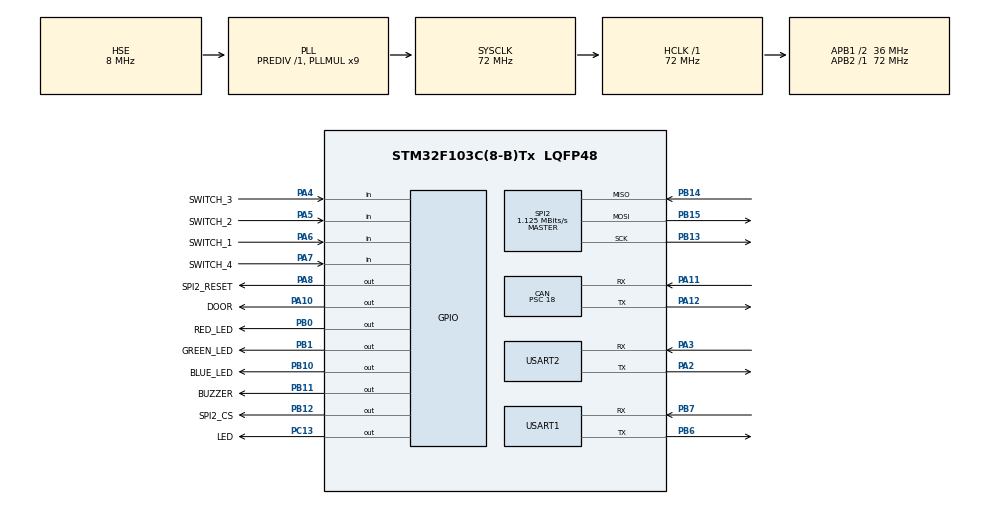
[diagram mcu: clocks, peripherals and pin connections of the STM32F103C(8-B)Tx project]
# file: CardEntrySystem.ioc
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CAN.BS1=CAN_BS1_2TQ
CAN.CalculateBaudRate=500000
CAN.CalculateTimeBit=2000
CAN.CalculateTimeQuantum=500.0
CAN.Mode=CAN_MODE_NORMAL
CAN.Prescaler=18
Mcu.Family=STM32F1
Mcu.Name=STM32F103C(8-B)Tx
Mcu.Package=LQFP48
NVIC.CAN1_RX1_IRQn=true\:0\:0\:false\:false\:true\:true\:true
NVIC.PriorityGroup=NVIC_PRIORITYGROUP_4
NVIC.TIM3_IRQn=true\:1\:0\:true\:false\:true\:true\:true
NVIC.USART1_IRQn=true\:0\:0\:true\:false\:true\:true\:true
NVIC.USART2_IRQn=true\:0\:0\:true\:false\:true\:true\:true
PA10.GPIO_Label=DOOR
PA10.GPIO_PuPd=GPIO_PULLDOWN
PA10.Signal=GPIO_Output
PA11.Mode=CAN_Activate
PA11.Signal=CAN_RX
PA12.Mode=CAN_Activate
PA12.Signal=CAN_TX
PA13.Mode=Serial_Wire
PA13.Signal=SYS_JTMS-SWDIO
PA14.Mode=Serial_Wire
PA14.Signal=SYS_JTCK-SWCLK
PA2.Mode=Asynchronous
PA2.Signal=USART2_TX
PA3.Mode=Asynchronous
PA3.Signal=USART2_RX
PA4.GPIO_Label=SWITCH_3
PA4.GPIO_PuPd=GPIO_PULLUP
PA4.Signal=GPIO_Input
PA5.GPIO_Label=SWITCH_2
PA5.GPIO_PuPd=GPIO_PULLUP
PA5.Signal=GPIO_Input
PA6.GPIO_Label=SWITCH_1
PA6.GPIO_PuPd=GPIO_PULLUP
PA6.Signal=GPIO_Input
PA7.GPIO_Label=SWITCH_4
PA7.GPIO_PuPd=GPIO_PULLUP
PA7.Signal=GPIO_Input
PA8.GPIO_Label=SPI2_RESET
PA8.Signal=GPIO_Output
PB0.GPIO_Label=RED_LED
PB0.Signal=GPIO_Output
PB1.GPIO_Label=GREEN_LED
PB1.Signal=GPIO_Output
PB10.GPIO_Label=BLUE_LED
PB10.Signal=GPIO_Output
PB11.GPIO_Label=BUZZER
PB11.GPIO_PuPd=GPIO_PULLUP
PB11.PinState=GPIO_PIN_SET
PB11.Signal=GPIO_Output
PB12.GPIO_Label=SPI2_CS
PB12.Signal=GPIO_Output
PB13.Mode=Full_Duplex_Master
PB13.Signal=SPI2_SCK
PB14.Mode=Full_Duplex_Master
PB14.Signal=SPI2_MISO
PB15.Mode=Full_Duplex_Master
PB15.Signal=SPI2_MOSI
PB6.Mode=Asynchronous
PB6.Signal=USART1_TX
PB7.Mode=Asynchronous
PB7.Signal=USART1_RX
PC13-TAMPER-RTC.GPIO_Label=LED
PC13-TAMPER-RTC.GPIO_PuPd=GPIO_PULLUP
PC13-TAMPER-RTC.Signal=GPIO_Output
PD0-OSC_IN.Mode=HSE-External-Oscillator
PD0-OSC_IN.Signal=RCC_OSC_IN
PD1-OSC_OUT.Mode=HSE-External-Oscillator
PD1-OSC_OUT.Signal=RCC_OSC_OUT
ProjectManager.HeapSize=0x200
ProjectManager.StackSize=0x400
ProjectManager.TargetToolchain=STM32CubeIDE
RCC.AHBFreq_Value=72000000
RCC.APB1CLKDivider=RCC_HCLK_DIV2
RCC.APB1Freq_Value=36000000
RCC.APB1TimFreq_Value=72000000
RCC.APB2Freq_Value=72000000
RCC.APB2TimFreq_Value=72000000
RCC.HCLKFreq_Value=72000000
RCC.PLLMUL=RCC_PLL_MUL9
RCC.PLLSourceVirtual=RCC_PLLSOURCE_HSE
RCC.SYSCLKFreq_VALUE=72000000
RCC.SYSCLKSource=RCC_SYSCLKSOURCE_PLLCLK
RCC.USBFreq_Value=72000000
SPI2.BaudRatePrescaler=SPI_BAUDRATEPRESCALER_32
SPI2.CalculateBaudRate=1.125 MBits/s
SPI2.Direction=SPI_DIRECTION_2LINES
SPI2.Mode=SPI_MODE_MASTER
SPI2.VirtualType=VM_MASTER
TIM3.ClockDivision=TIM_CLOCKDIVISION_DIV1
TIM3.Period=7200-1
TIM3.Prescaler=10-1
USART1.VirtualMode=VM_ASYNC
USART2.VirtualMode=VM_ASYNC
VP_TIM3_VS_ClockSourceINT.Mode=Internal
board=custom

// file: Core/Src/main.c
/* USER CODE BEGIN Header */
/**
 ******************************************************************************
 * @file           : main.c
 * @brief          : Main program body
 ******************************************************************************
 * @attention
 *
 * <h2><center>&copy; Copyright (c) 2021 STMicroelectronics.
 * All rights reserved.</center></h2>
 *
 * This software component is licensed by ST under BSD 3-Clause license,
 * the "License"; You may not use this file except in compliance with the
 * License. You may obtain a copy of the License at:
 *                        opensource.org/licenses/BSD-3-Clause
 *
 ******************************************************************************
 */
/* USER CODE END Header */
#include "main.h"

/* USER CODE BEGIN Includes */
#include "string.h"
#include "RC-522.h"
#include "buzzerControl.h"
#include "ledControl.h"
#include "flash.h"
/* USER CODE END Includes */

CAN_HandleTypeDef hcan;

SPI_HandleTypeDef hspi2;

TIM_HandleTypeDef htim3;

UART_HandleTypeDef huart1;
UART_HandleTypeDef huart2;

/* USER CODE BEGIN PV */
uint8_t rxArrivedFlag;
uint32_t rxArrivedTime;
uint8_t wrongAccess;
uint8_t receivedWrongAccess;
/* USER CODE END PV */

void SystemClock_Config(void);
static void MX_GPIO_Init(void);
static void MX_CAN_Init(void);
static void MX_SPI2_Init(void);
static void MX_TIM3_Init(void);
static void MX_USART1_UART_Init(void);
static void MX_USART2_UART_Init(void);

/* USER CODE BEGIN 0 */

typedef struct
{
	uint32_t TxSentBytes;
	uint32_t TxPackageSize;
	uint32_t RxReceivedBytes;
	uint32_t RxPackageSize;
	uint8_t RxData;
	uint8_t RxReceivedId;
	uint8_t TxBuffer[UART_BUF_SIZE];
	uint8_t RxBuffer[UART_BUF_SIZE];
	uint8_t HandShake;
} UartCom_t;

typedef struct
{
	uint32_t StartTime;
	uint32_t ActiveTime;
	uint8_t Open;
}DoorSwitch_t;

DoorSwitch_t Door;

UartCom_t Uart1;
UartCom_t Uart2;

Card_t Card[MAX_ID_NUMBER];
Card_t CardFlash[MAX_ID_NUMBER] __attribute__((section (".dataSection")));

Card_t ReceivedCard;
DeviceStatus_t TypeOfProcess = DS_NONE;

DeviceStatus_t DeviceStatus;
DeviceStatus_t OldDeviceStatus;
DeviceZone_t DeviceZone;

uint8_t status;
uint8_t str[MAX_LEN]; // Max_LEN = 16
uint8_t serNum[5];

CAN_TxHeaderTypeDef TxHeader;
CAN_RxHeaderTypeDef RxHeader;

uint32_t TxMailbox;

uint8_t TxData[8];
uint8_t RxData[8];

Card_t tempCard =
{ 0 };

uint8_t ProcessCardID(DeviceStatus_t status, uint8_t *receivedID, uint8_t cardIndex);
uint8_t CheckUart(uint32_t PackageSize, const uint8_t *RxBuffer);
uint8_t ReaderControl(Card_t *card, uint8_t *newSerialNumber);
void DoorControl(uint32_t activeTime);
/**
 * @brief  Period elapsed callback in non-blocking mode
 * @param  htim TIM handle
 * @retval None
 */
void HAL_TIM_PeriodElapsedCallback(TIM_HandleTypeDef *htim)
{
	if (htim == &htim3)
	{
		BuzzerUpdate();
		LedUpdate();

		if (HAL_GetTick() - rxArrivedTime > RX_ARRIVED_TIMEOUT)
		{
			rxArrivedFlag = 0;
		}

		if(Door.ActiveTime)
		{

		}

		if (Door.ActiveTime)
		{
			Door.ActiveTime--;
			if (Door.Open == 0)
			{
				Door.Open = 1;
				HAL_GPIO_WritePin(DOOR_GPIO_Port, DOOR_Pin, GPIO_PIN_SET);
			}
		}
		else
		{
			Door.Open = 0;
			HAL_GPIO_WritePin(DOOR_GPIO_Port, DOOR_Pin, GPIO_PIN_RESET);
		}

		if (TypeOfProcess != DS_NONE)
		{
			uint8_t cardIndex = ReaderControl(Card, ReceivedCard.ID);

			switch (TypeOfProcess) {

			case DS_RUNNING:

				if (cardIndex != CARD_NOT_SAVED)
				{
					ProcessCardID(DS_RUNNING, ReceivedCard.ID, cardIndex);
				}

				TypeOfProcess = DS_NONE;
				break;

			case DS_SAVE_VIP_CARD:

				if (cardIndex == CARD_NOT_SAVED)
				{
				ProcessCardID(DS_SAVE_VIP_CARD, ReceivedCard.ID, cardIndex);
				}

				TypeOfProcess = DS_NONE;
				break;

			case DS_SAVE_NORMAL_CARD:

				if (cardIndex == CARD_NOT_SAVED)
				{
					ProcessCardID(DS_SAVE_NORMAL_CARD, ReceivedCard.ID, cardIndex);
				}

				TypeOfProcess = DS_NONE;
				break;

			case DS_REMOVE_CARD:

				if (cardIndex != CARD_NOT_SAVED)
				{
					ProcessCardID(DS_REMOVE_CARD, ReceivedCard.ID, cardIndex);
				}

				TypeOfProcess = DS_NONE;
				break;
			default:
				break;
			}
		}
	}
}

//uint32_t flag;
///**
// * @brief  Rx FIFO 0 message pending callback.
// * @param  hcan pointer to a CAN_HandleTypeDef structure that contains
// *         the configuration information for the specified CAN.
// * @retval None
// */
//void HAL_CAN_RxFifo1MsgPendingCallback(CAN_HandleTypeDef *hcan)
//{
//	HAL_CAN_GetRxMessage(hcan, CAN_RX_FIFO1, &RxHeader, RxData);
//	if (RxHeader.DLC == 2)
//	{
//		flag = 1;
//	}
//}

uint8_t WhichCardEmpty(Card_t *card)
{
	int i;

	for (i = 0; i < MAX_ID_NUMBER; i++)
	{
		if (Card[i].Position == P_NOT_SAVED_CARD)
		{
			return i;
		}
	}

	if (i < MAX_ID_NUMBER)
	{
		return CARD_NOT_SAVED;
	} else
	{
		return MAX_ID_NUMBER_OVERFLOWED;
	}
}

void DeviceStatusUpdate(void)
{

	uint8_t switch1, switch2, switch3, switch4, temp, deviceStatus, deviceZone;

	switch1 = HAL_GPIO_ReadPin(SWITCH_1_GPIO_Port, SWITCH_1_Pin);
	switch2 = HAL_GPIO_ReadPin(SWITCH_2_GPIO_Port, SWITCH_2_Pin);
	switch3 = HAL_GPIO_ReadPin(SWITCH_3_GPIO_Port, SWITCH_3_Pin);
	switch4 = HAL_GPIO_ReadPin(SWITCH_4_GPIO_Port, SWITCH_4_Pin);

	temp = (uint8_t) (switch4 << 3 | switch3 << 2 | switch2 << 1 | switch1);
	deviceStatus = (~temp) & 0x03;
	deviceZone = ((~temp) & 0x0C) >> 2;

	switch (deviceStatus) {
	case DS_RUNNING:
		DeviceStatus = DS_RUNNING;
		if (OldDeviceStatus != DeviceStatus)
		{
			LedResetActiveState();
			LedControl(OFF, C_ALL, 0, LM_INFINITY);
		}

		break;
	case DS_SAVE_VIP_CARD:
		DeviceStatus = DS_SAVE_VIP_CARD;
		if (OldDeviceStatus != DeviceStatus)
		{
			LedResetActiveState();
			LedControl(ON, C_BLUE, 0, LM_INFINITY);
		}

		break;
	case DS_SAVE_NORMAL_CARD:
		DeviceStatus = DS_SAVE_NORMAL_CARD;
		if (OldDeviceStatus != DeviceStatus)
		{
			LedResetActiveState();
			LedControl(ON, C_YELLOW, 0, LM_INFINITY);
		}
		break;
	case DS_REMOVE_CARD:
		DeviceStatus = DS_REMOVE_CARD;
		if (OldDeviceStatus != DeviceStatus)
		{
			LedResetActiveState();
			LedControl(ON, C_WHITE, 0, LM_INFINITY);
		}

		break;
	default:
		break;
	}

	OldDeviceStatus = DeviceStatus;

	switch (deviceZone) {
	case DZ_OUTSIDE:
		DeviceZone = DZ_OUTSIDE;
		break;
	case DZ_OUTSIDE_MID:
		DeviceZone = DZ_OUTSIDE_MID;
		break;
	case DZ_VIP_ROOM:
		DeviceZone = DZ_VIP_ROOM;
		break;
	case DZ_VIP_ROOM_MID:
		DeviceZone = DZ_VIP_ROOM_MID;
		break;
	default:
		break;
	}
}

//return 1 saved Card
uint8_t ReaderControl(Card_t *card, uint8_t *newSerialNumber)
{
	for (int i = 0; i < MAX_ID_NUMBER; i++)
	{
		if (!memcmp(card[i].ID, newSerialNumber, SER_NUM_BYTE_CNT))
		{
			return i;
		}
	}
	return CARD_NOT_SAVED;
}

/**
 * @brief  Rx Transfer completed callbacks.
 * @param  huart  Pointer to a UART_HandleTypeDef structure that contains
 *                the configuration information for the specified UART module.
 * @retval None
 */
void HAL_UART_RxCpltCallback(UART_HandleTypeDef *huart)
{
	if (huart == &huart1)
	{
		HAL_UART_Receive_IT(&huart1, &Uart1.RxData, 1);

		switch (Uart1.RxReceivedBytes) {
		case 0:
			if (Uart1.RxData == UART_LABEL1)
			{
				Uart1.RxBuffer[Uart1.RxReceivedBytes++] = Uart1.RxData;
			} else
			{
				Uart1.RxReceivedBytes = 0;
				return;
			}
			break;
		case 1:
			if (Uart1.RxData == UART_LABEL2)
			{
				Uart1.RxBuffer[Uart1.RxReceivedBytes++] = Uart1.RxData;
			} else
			{
				Uart1.RxReceivedBytes = 0;
				return;
			}
			break;
		case 2:
			if (Uart1.RxData == UART_LABEL3)
			{
				Uart1.RxBuffer[Uart1.RxReceivedBytes++] = Uart1.RxData;
			} else
			{
				Uart1.RxReceivedBytes = 0;
				return;
			}
			break;
		default:
			if (Uart1.RxReceivedBytes <= Uart1.RxPackageSize)
			{
				Uart1.RxBuffer[Uart1.RxReceivedBytes++] = Uart1.RxData;
				if (Uart1.RxReceivedBytes > Uart1.RxPackageSize)
				{
					Uart1.RxReceivedBytes = 0;
					if (CheckUart(Uart1.RxPackageSize, Uart1.RxBuffer))
					{

						if (rxArrivedFlag == 0)
						{
							rxArrivedFlag = 1;
							rxArrivedTime = HAL_GetTick();

							memcpy(ReceivedCard.ID, &Uart1.RxBuffer[3], SER_NUM_BYTE_CNT);
							TypeOfProcess = (DeviceStatus_t) Uart1.RxBuffer[8];
							ReceivedCard.Zone = Uart1.RxBuffer[9];
							ReceivedCard.Position = Uart1.RxBuffer[10];

							receivedWrongAccess = Uart1.RxBuffer[14];

							if (receivedWrongAccess && (DeviceZone == DZ_OUTSIDE || DeviceZone == DZ_VIP_ROOM))
							{
								DoorControl(0);
							}

							HAL_UART_Transmit_IT(&huart2, Uart1.RxBuffer, Uart1.TxPackageSize + 1);
						}
					}
				}
			}
			break;
		}
	}

	if (huart == &huart2)
	{
		HAL_UART_Receive_IT(&huart2, &Uart2.RxData, 1);

		switch (Uart2.RxReceivedBytes) {
		case 0:
			if (Uart2.RxData == UART_LABEL1)
			{
				Uart2.RxBuffer[Uart2.RxReceivedBytes++] = Uart2.RxData;
			} else
			{
				Uart2.RxReceivedBytes = 0;
				return;
			}
			break;
		case 1:
			if (Uart2.RxData == UART_LABEL2)
			{
				Uart2.RxBuffer[Uart2.RxReceivedBytes++] = Uart2.RxData;
			} else
			{
				Uart2.RxReceivedBytes = 0;
				return;
			}
			break;
		case 2:
			if (Uart2.RxData == UART_LABEL3)
			{
				Uart2.RxBuffer[Uart2.RxReceivedBytes++] = Uart2.RxData;
			} else
			{
				Uart2.RxReceivedBytes = 0;
				return;
			}
			break;
		default:
			if (Uart2.RxReceivedBytes <= Uart2.RxPackageSize)
			{
				Uart2.RxBuffer[Uart2.RxReceivedBytes++] = Uart2.RxData;
				if (Uart2.RxReceivedBytes > Uart2.RxPackageSize)
				{
					Uart2.RxReceivedBytes = 0;
					if (CheckUart(Uart2.RxPackageSize, Uart2.RxBuffer))
					{

						if (rxArrivedFlag == 0)
						{
							rxArrivedFlag = 1;
							rxArrivedTime = HAL_GetTick();

							memcpy(ReceivedCard.ID, &Uart2.RxBuffer[3], SER_NUM_BYTE_CNT);
							TypeOfProcess = (DeviceStatus_t) Uart2.RxBuffer[8];
							ReceivedCard.Zone = Uart2.RxBuffer[9];
							ReceivedCard.Position = Uart2.RxBuffer[10];

							receivedWrongAccess = Uart2.RxBuffer[14];

							if (receivedWrongAccess && (DeviceZone == DZ_OUTSIDE || DeviceZone == DZ_VIP_ROOM))
							{
								DoorControl(0);
							}

							HAL_UART_Transmit_IT(&huart1, Uart2.RxBuffer, Uart2.TxPackageSize + 1);
						}
					}
				}
			}
			break;
		}
	}
}

uint8_t CheckUart(uint32_t PackageSize, const uint8_t *RxBuffer)
{
	uint32_t i;
	uint8_t CheckByte;
	uint8_t ReturnValue = 0;

	CheckByte = RxBuffer[0];
	for (i = 1; i < PackageSize; i++)
		CheckByte ^= RxBuffer[i];

	if (CheckByte == RxBuffer[PackageSize])
	{
		ReturnValue = 1;
	}

	return ReturnValue;
}

void PrepareUartPackage(UartCom_t *uart, Card_t *card, DeviceStatus_t typeOfProcess, uint8_t TransmitID)
{

	uart->HandShake = 0;

	uart->TxBuffer[0] = UART_LABEL1;
	uart->TxBuffer[1] = UART_LABEL2;
	uart->TxBuffer[2] = UART_LABEL3;

	memcpy(&uart->TxBuffer[3], card->ID, SER_NUM_BYTE_CNT);
	uart->TxBuffer[8] = (uint8_t) typeOfProcess;
	uart->TxBuffer[9] = card->Zone;
	uart->TxBuffer[10] = card->Position;
	if(wrongAccess)
	{
		uart->TxBuffer[14] = 1;
	}
	else
	{
		uart->TxBuffer[14] = 0;
	}
	uart->TxBuffer[15] = TransmitID;
	uart->TxBuffer[uart->TxPackageSize] = uart->TxBuffer[0];

	for (int i = 1; i < uart->TxPackageSize; i++)
	{
		uart->TxBuffer[uart->TxPackageSize] = uart->TxBuffer[uart->TxPackageSize] ^ uart->TxBuffer[i];
	}
}

uint8_t ProcessCardID(DeviceStatus_t status, uint8_t *receivedID, uint8_t cardIndex)
{

	uint8_t emptyCardIndex = 0;
	uint8_t returnValue = 0;

	switch (status) {

	case DS_RUNNING:

		Card[cardIndex].Position = ReceivedCard.Position;
		Card[cardIndex].Zone = ReceivedCard.Zone;

		if((ReceivedCard.Zone == CZ_OUTSIDE && DeviceZone == DZ_OUTSIDE)
				|| (ReceivedCard.Zone == CZ_VIP_ROOM && DeviceZone == DZ_VIP_ROOM))
		{
			if (receivedWrongAccess)
			{
				receivedWrongAccess = 0;
				DoorControl(0);
			} else
			{
				DoorControl(Door.ActiveTime + 5000);
			}

		}

		returnValue = 1;
		break;

	case DS_SAVE_VIP_CARD:

		emptyCardIndex = WhichCardEmpty(Card);

		if (emptyCardIndex != MAX_ID_NUMBER_OVERFLOWED)
		{
			memcpy(&Card[emptyCardIndex].ID, receivedID, 5);	//function for c language:(para1:that place save data,para2:the the source of data,para3:size)
			Card[emptyCardIndex].Position = P_VIP;

			if (rxArrivedFlag)
			{
				Card[emptyCardIndex].Zone = ReceivedCard.Zone;
			} else
			{
				if (DeviceZone == DZ_OUTSIDE)
				{
					Card[emptyCardIndex].Zone = CZ_OUTSIDE;
				} else if (DeviceZone == DZ_OUTSIDE_MID || DeviceZone == DZ_VIP_ROOM_MID)
				{
					Card[emptyCardIndex].Zone = CZ_MID;
				} else
				{
					Card[emptyCardIndex].Zone = CZ_VIP_ROOM;
				}
			}

			SaveDataToFlash();

			returnValue = 1;
		}

		break;

	case DS_SAVE_NORMAL_CARD:

		emptyCardIndex = WhichCardEmpty(Card);

		if (emptyCardIndex != MAX_ID_NUMBER_OVERFLOWED)
		{
			memcpy(&Card[emptyCardIndex].ID, receivedID, 5);	//function for c language:(para1:that place save data,para2:the the source of data,para3:size)
			Card[emptyCardIndex].Position = P_NORMAL;

			if (rxArrivedFlag)
			{
				Card[emptyCardIndex].Zone = ReceivedCard.Zone;
			} else
			{
				if (DeviceZone == DZ_OUTSIDE)
				{
					Card[emptyCardIndex].Zone = CZ_OUTSIDE;
				} else if (DeviceZone == DZ_OUTSIDE_MID || DeviceZone == DZ_VIP_ROOM_MID)
				{
					Card[emptyCardIndex].Zone = CZ_MID;
				} else
				{
					Card[emptyCardIndex].Zone = CZ_VIP_ROOM;
				}
			}

			SaveDataToFlash();

			returnValue = 1;
		}

		break;

	case DS_REMOVE_CARD:

		memset(&Card[cardIndex], 0, sizeof(Card[cardIndex]));

		SaveDataToFlash();

		returnValue = 1;

		break;
	default:
		returnValue = 0;
		break;
	}

	return returnValue;
}

void SendData(DeviceStatus_t deviceStatus, uint8_t cardIndex)
{
	PrepareUartPackage(&Uart1, &Card[cardIndex], deviceStatus, DATA);
	for (int i = 0; i < 5; i++)
	{
		HAL_UART_Transmit_IT(&huart1, Uart1.TxBuffer, Uart1.TxPackageSize + 1);
		HAL_Delay(25);
	}

	PrepareUartPackage(&Uart2, &Card[cardIndex], deviceStatus, DATA);
	for (int i = 0; i < 5; i++)
	{
		HAL_UART_Transmit_IT(&huart2, Uart2.TxBuffer, Uart2.TxPackageSize + 1);
		HAL_Delay(25);
	}
}

uint8_t CardControl(Card_t * card)
{

	switch (card->Position) {
	case P_VIP:

		if ((DeviceZone == DZ_OUTSIDE && card->Zone == CZ_OUTSIDE)
				|| (DeviceZone == DZ_OUTSIDE_MID && card->Zone == CZ_MID)
				|| (DeviceZone == DZ_VIP_ROOM_MID && card->Zone == CZ_MID)
				|| (DeviceZone == DZ_VIP_ROOM && card->Zone == CZ_VIP_ROOM))
		{

			if (DeviceZone == DZ_OUTSIDE)
			{
				card->Zone = CZ_MID;
			} else if (DeviceZone == DZ_OUTSIDE_MID)
			{
				card->Zone = CZ_OUTSIDE;
			} else if (DeviceZone == DZ_VIP_ROOM)
			{
				card->Zone = CZ_MID;
			} else if (DeviceZone == DZ_VIP_ROOM_MID)
			{
				card->Zone = CZ_VIP_ROOM;
			}

			return 1;
		}

		return 0;
		break;

	case P_NORMAL:

		if ((DeviceZone == DZ_OUTSIDE && card->Zone == CZ_OUTSIDE)
				|| (DeviceZone == DZ_OUTSIDE_MID && card->Zone == CZ_MID))
		{
			if (DeviceZone == DZ_OUTSIDE)
			{
				card->Zone = CZ_MID;
			} else if (DeviceZone == DZ_OUTSIDE_MID)
			{
				card->Zone = CZ_OUTSIDE;
			}

			return 1;
		}
		return 0;

		break;
	default:
		return 0;
		break;
	}
}

void DoorControl(uint32_t activeTime)
{

	if (activeTime < 10000)
	{
		Door.ActiveTime = activeTime;
	} else
	{
		Door.ActiveTime = 10000;
	}

	Door.StartTime = HAL_GetTick();
}

/* USER CODE END 0 */

int main(void)
{

  /* MCU Configuration--------------------------------------------------------*/

  /* Reset of all peripherals, Initializes the Flash interface and the Systick. */
  HAL_Init();

  /* Configure the system clock */
  SystemClock_Config();

  /* Initialize all configured peripherals */
  MX_GPIO_Init();
  MX_CAN_Init();
  MX_SPI2_Init();
  MX_TIM3_Init();
  MX_USART1_UART_Init();
  MX_USART2_UART_Init();
  /* USER CODE BEGIN 2 */

#ifdef DEBUG
	HAL_Delay(1000);
#endif

	ReadDataFromFlash();

	Buzzer_t Buzzer;
	Buzzer.GPIO_Port = BUZZER_GPIO_Port;
	Buzzer.GPIO_Pin = BUZZER_Pin;
	BuzzerInit(&Buzzer);

	Led_t Led;
	Led.Red_GPIO_Port = RED_LED_GPIO_Port;
	Led.Red_GPIO_Pin = RED_LED_Pin;
	Led.Green_GPIO_Port = GREEN_LED_GPIO_Port;
	Led.Green_GPIO_Pin = GREEN_LED_Pin;
	Led.Blue_GPIO_Port = BLUE_LED_GPIO_Port;
	Led.Blue_GPIO_Pin = BLUE_LED_Pin;
	LedInit(&Led);

	for (int i = 0; i < 5; i++)
	{
		MFRC522_Init();
	}

	HAL_TIM_Base_Start_IT(&htim3);

	Uart1.RxPackageSize = 16;
	Uart1.TxPackageSize = 16;

	Uart2.RxPackageSize = 16;
	Uart2.TxPackageSize = 16;

	HAL_UART_Receive_IT(&huart1, &Uart1.RxData, 1);
	HAL_UART_Receive_IT(&huart2, &Uart2.RxData, 1);

//  HAL_CAN_Start(&hcan);
//  HAL_CAN_ActivateNotification(&hcan, CAN_IT_RX_FIFO1_MSG_PENDING);
//
//  TxHeader.DLC = 2;
//  TxHeader.ExtId = 0;
//  TxHeader.IDE = CAN_ID_STD;
//  TxHeader.RTR = CAN_RTR_DATA;
//  TxHeader.StdId = 0x103;
//  TxHeader.TransmitGlobalTime = DISABLE;
//
//  TxData[0] = 100;
//  TxData[1] = 10;
//
//  if (HAL_CAN_AddTxMessage(&hcan, &TxHeader, TxData, &TxMailbox) != HAL_OK)
//  {
//	  Error_Handler();
//  }

	uint8_t Index = 0;
  /* USER CODE END 2 */

  /* Infinite loop */
	while (1)
	{

    /* USER CODE BEGIN 3 */
		DeviceStatusUpdate();

		status = MFRC522_Request(PICC_REQIDL, str);	//MFRC522_Request(0x26, str)
		status = MFRC522_Anticoll(str);	//Take a collision, look up 5 bytes

		if (status == MI_OK)
		{

			switch (DeviceStatus) {
			case DS_RUNNING:

				Index = ReaderControl(Card, &str[0]);

				if (Index == CARD_NOT_SAVED)
				{
					BuzzerControl(1000, BM_ONE_TIME);
					LedControl(ON, C_RED, 1000, LM_ONE_TIME);

					if (DeviceZone == DZ_OUTSIDE || DeviceZone == DZ_VIP_ROOM)
					{
						DoorControl(0);
					}

					wrongAccess = 1;

					SendData(DS_RUNNING, Index); //Datasend the bus

					wrongAccess = 0;

					break;
				}

				switch (Card[Index].Position) {
				case P_VIP:

					if (CardControl(&Card[Index]))
					{
						BuzzerControl(500, BM_ONE_TIME);
						LedControl(ON, C_GREEN, 500, LM_ONE_TIME);
						if(DeviceZone == DZ_OUTSIDE || DZ_VIP_ROOM)
						{
							DoorControl(Door.ActiveTime + 5000);
						}

						SendData(DS_RUNNING, Index); //Datasend the bus

					} else
					{
						if (DeviceZone == DZ_OUTSIDE || DeviceZone == DZ_VIP_ROOM)
						{
							DoorControl(0);
						}

						wrongAccess = 1;

						BuzzerControl(1000, BM_ONE_TIME);
						LedControl(ON, C_RED, 1000, LM_ONE_TIME);

						SendData(DS_RUNNING, Index); //Datasend the bus
						wrongAccess = 0;
					}

					break;

				case P_NORMAL:

					if (CardControl(&Card[Index]))
					{
						BuzzerControl(500, BM_ONE_TIME);
						LedControl(ON, C_GREEN, 500, LM_ONE_TIME);

						if (DeviceZone == DZ_OUTSIDE || DeviceZone == DZ_VIP_ROOM)
						{
							DoorControl(Door.ActiveTime + 5000);
						}

						SendData(DS_RUNNING, Index);

					} else
					{

						if (DeviceZone == DZ_OUTSIDE || DeviceZone == DZ_VIP_ROOM)
						{
							DoorControl(0);
						}

						wrongAccess = 1;

						BuzzerControl(1000, BM_ONE_TIME);
						LedControl(ON, C_RED, 1000, LM_ONE_TIME);

						SendData(DS_RUNNING, Index); //Datasend the bus
						wrongAccess = 0;
					}

					break;
				default:
					break;

				}

				break;
			case DS_SAVE_VIP_CARD:

				Index = ReaderControl(Card, &str[0]);

				if (Index == CARD_NOT_SAVED)
				{
					if (ProcessCardID(DS_SAVE_VIP_CARD, str, Index))
					{
						BuzzerControl(500, BM_ONE_TIME);
					} else
					{
						BuzzerControl(250, BM_TWICE_TIME);
					}
				} else
				{
					BuzzerControl(250, BM_TWICE_TIME);
				}

				Index = ReaderControl(Card, &str[0]);
				SendData(DS_SAVE_VIP_CARD, Index);

				break;

			case DS_SAVE_NORMAL_CARD:

				Index = ReaderControl(Card, &str[0]);
				if (Index == CARD_NOT_SAVED)
				{
					if (ProcessCardID(DS_SAVE_NORMAL_CARD, str, Index))
					{
						BuzzerControl(500, BM_ONE_TIME);
					} else
					{
						BuzzerControl(250, BM_TWICE_TIME);
					}
				} else
				{
					BuzzerControl(250, BM_TWICE_TIME);
				}

				Index = ReaderControl(Card, &str[0]);
				SendData(DS_SAVE_NORMAL_CARD, Index);

				break;

			case DS_REMOVE_CARD:

				Index = ReaderControl(Card, &str[0]);

				if (Index != CARD_NOT_SAVED)
				{
					BuzzerControl(500, BM_ONE_TIME);

					SendData(DS_REMOVE_CARD, Index);

					ProcessCardID(DS_REMOVE_CARD, str,Index);
				} else
				{
					BuzzerControl(250, BM_THIRD_TIME);

					memcpy(tempCard.ID, str, SER_NUM_BYTE_CNT);

					PrepareUartPackage(&Uart1, &tempCard, DS_REMOVE_CARD, DATA);
					for (int i = 0; i < 5; i++)
					{
						HAL_UART_Transmit_IT(&huart1, Uart1.TxBuffer, Uart1.TxPackageSize + 1);
						HAL_Delay(25);
					}

					PrepareUartPackage(&Uart2, &tempCard, DS_REMOVE_CARD, DATA);
					for (int i = 0; i < 5; i++)
					{
						HAL_UART_Transmit_IT(&huart2, Uart2.TxBuffer, Uart2.TxPackageSize + 1);
						HAL_Delay(25);
					}
				}

				break;
			default:
				break;
			}
			HAL_Delay(1000);
		}
	}
  /* USER CODE END 3 */
}

void SystemClock_Config(void)
{
  RCC_OscInitTypeDef RCC_OscInitStruct = {0};
  RCC_ClkInitTypeDef RCC_ClkInitStruct = {0};

  /** Initializes the RCC Oscillators according to the specified parameters
  * in the RCC_OscInitTypeDef structure.
  */
  RCC_OscInitStruct.OscillatorType = RCC_OSCILLATORTYPE_HSE;
  RCC_OscInitStruct.HSEState = RCC_HSE_ON;
  RCC_OscInitStruct.HSEPredivValue = RCC_HSE_PREDIV_DIV1;
  RCC_OscInitStruct.HSIState = RCC_HSI_ON;
  RCC_OscInitStruct.PLL.PLLState = RCC_PLL_ON;
  RCC_OscInitStruct.PLL.PLLSource = RCC_PLLSOURCE_HSE;
  RCC_OscInitStruct.PLL.PLLMUL = RCC_PLL_MUL9;
  if (HAL_RCC_OscConfig(&RCC_OscInitStruct) != HAL_OK)
  {
    Error_Handler();
  }
  /** Initializes the CPU, AHB and APB buses clocks
  */
  RCC_ClkInitStruct.ClockType = RCC_CLOCKTYPE_HCLK|RCC_CLOCKTYPE_SYSCLK
                              |RCC_CLOCKTYPE_PCLK1|RCC_CLOCKTYPE_PCLK2;
  RCC_ClkInitStruct.SYSCLKSource = RCC_SYSCLKSOURCE_PLLCLK;
  RCC_ClkInitStruct.AHBCLKDivider = RCC_SYSCLK_DIV1;
  RCC_ClkInitStruct.APB1CLKDivider = RCC_HCLK_DIV2;
  RCC_ClkInitStruct.APB2CLKDivider = RCC_HCLK_DIV1;

  if (HAL_RCC_ClockConfig(&RCC_ClkInitStruct, FLASH_LATENCY_2) != HAL_OK)
  {
    Error_Handler();
  }
}

static void MX_CAN_Init(void)
{

  hcan.Instance = CAN1;
  hcan.Init.Prescaler = 18;
  hcan.Init.Mode = CAN_MODE_NORMAL;
  hcan.Init.SyncJumpWidth = CAN_SJW_1TQ;
  hcan.Init.TimeSeg1 = CAN_BS1_2TQ;
  hcan.Init.TimeSeg2 = CAN_BS2_1TQ;
  hcan.Init.TimeTriggeredMode = DISABLE;
  hcan.Init.AutoBusOff = DISABLE;
  hcan.Init.AutoWakeUp = DISABLE;
  hcan.Init.AutoRetransmission = DISABLE;
  hcan.Init.ReceiveFifoLocked = DISABLE;
  hcan.Init.TransmitFifoPriority = DISABLE;
  if (HAL_CAN_Init(&hcan) != HAL_OK)
  {
    Error_Handler();
  }
  /* USER CODE BEGIN CAN_Init 2 */
	CAN_FilterTypeDef canConfigFilter;
	canConfigFilter.FilterActivation = CAN_FILTER_ENABLE;
	canConfigFilter.FilterBank = 10;
	canConfigFilter.FilterFIFOAssignment = CAN_RX_FIFO1;
	canConfigFilter.FilterIdHigh = 0;
	canConfigFilter.FilterIdLow = 0x0000;
	canConfigFilter.FilterMaskIdHigh = 0;
	canConfigFilter.FilterMaskIdLow = 0x0000;
	canConfigFilter.FilterMode = CAN_FILTERMODE_IDMASK;
	canConfigFilter.FilterScale = CAN_FILTERSCALE_32BIT;
	canConfigFilter.SlaveStartFilterBank = 0;

	HAL_CAN_ConfigFilter(&hcan, &canConfigFilter);
  /* USER CODE END CAN_Init 2 */

}

static void MX_SPI2_Init(void)
{

  /* SPI2 parameter configuration*/
  hspi2.Instance = SPI2;
  hspi2.Init.Mode = SPI_MODE_MASTER;
  hspi2.Init.Direction = SPI_DIRECTION_2LINES;
  hspi2.Init.DataSize = SPI_DATASIZE_8BIT;
  hspi2.Init.CLKPolarity = SPI_POLARITY_LOW;
  hspi2.Init.CLKPhase = SPI_PHASE_1EDGE;
  hspi2.Init.NSS = SPI_NSS_SOFT;
  hspi2.Init.BaudRatePrescaler = SPI_BAUDRATEPRESCALER_32;
  hspi2.Init.FirstBit = SPI_FIRSTBIT_MSB;
  hspi2.Init.TIMode = SPI_TIMODE_DISABLE;
  hspi2.Init.CRCCalculation = SPI_CRCCALCULATION_DISABLE;
  hspi2.Init.CRCPolynomial = 10;
  if (HAL_SPI_Init(&hspi2) != HAL_OK)
  {
    Error_Handler();
  }

}

static void MX_TIM3_Init(void)
{

  TIM_ClockConfigTypeDef sClockSourceConfig = {0};
  TIM_MasterConfigTypeDef sMasterConfig = {0};

  htim3.Instance = TIM3;
  htim3.Init.Prescaler = 10-1;
  htim3.Init.CounterMode = TIM_COUNTERMODE_UP;
  htim3.Init.Period = 7200-1;
  htim3.Init.ClockDivision = TIM_CLOCKDIVISION_DIV1;
  htim3.Init.AutoReloadPreload = TIM_AUTORELOAD_PRELOAD_DISABLE;
  if (HAL_TIM_Base_Init(&htim3) != HAL_OK)
  {
    Error_Handler();
  }
  sClockSourceConfig.ClockSource = TIM_CLOCKSOURCE_INTERNAL;
  if (HAL_TIM_ConfigClockSource(&htim3, &sClockSourceConfig) != HAL_OK)
  {
    Error_Handler();
  }
  sMasterConfig.MasterOutputTrigger = TIM_TRGO_RESET;
  sMasterConfig.MasterSlaveMode = TIM_MASTERSLAVEMODE_DISABLE;
  if (HAL_TIMEx_MasterConfigSynchronization(&htim3, &sMasterConfig) != HAL_OK)
  {
    Error_Handler();
  }

}

static void MX_USART1_UART_Init(void)
{

  huart1.Instance = USART1;
  huart1.Init.BaudRate = 115200;
  huart1.Init.WordLength = UART_WORDLENGTH_8B;
  huart1.Init.StopBits = UART_STOPBITS_1;
  huart1.Init.Parity = UART_PARITY_NONE;
  huart1.Init.Mode = UART_MODE_TX_RX;
  huart1.Init.HwFlowCtl = UART_HWCONTROL_NONE;
  huart1.Init.OverSampling = UART_OVERSAMPLING_16;
  if (HAL_UART_Init(&huart1) != HAL_OK)
  {
    Error_Handler();
  }

}

static void MX_USART2_UART_Init(void)
{

  huart2.Instance = USART2;
  huart2.Init.BaudRate = 115200;
  huart2.Init.WordLength = UART_WORDLENGTH_8B;
  huart2.Init.StopBits = UART_STOPBITS_1;
  huart2.Init.Parity = UART_PARITY_NONE;
  huart2.Init.Mode = UART_MODE_TX_RX;
  huart2.Init.HwFlowCtl = UART_HWCONTROL_NONE;
  huart2.Init.OverSampling = UART_OVERSAMPLING_16;
  if (HAL_UART_Init(&huart2) != HAL_OK)
  {
    Error_Handler();
  }

}

static void MX_GPIO_Init(void)
{
  GPIO_InitTypeDef GPIO_InitStruct = {0};

  /* GPIO Ports Clock Enable */
  __HAL_RCC_GPIOC_CLK_ENABLE();
  __HAL_RCC_GPIOD_CLK_ENABLE();
  __HAL_RCC_GPIOA_CLK_ENABLE();
  __HAL_RCC_GPIOB_CLK_ENABLE();

  /*Configure GPIO pin Output Level */
  HAL_GPIO_WritePin(LED_GPIO_Port, LED_Pin, GPIO_PIN_RESET);

  /*Configure GPIO pin Output Level */
  HAL_GPIO_WritePin(GPIOB, RED_LED_Pin|GREEN_LED_Pin|BLUE_LED_Pin|SPI2_CS_Pin, GPIO_PIN_RESET);

  /*Configure GPIO pin Output Level */
  HAL_GPIO_WritePin(BUZZER_GPIO_Port, BUZZER_Pin, GPIO_PIN_SET);

  /*Configure GPIO pin Output Level */
  HAL_GPIO_WritePin(GPIOA, SPI2_RESET_Pin|DOOR_Pin, GPIO_PIN_RESET);

  /*Configure GPIO pin : LED_Pin */
  GPIO_InitStruct.Pin = LED_Pin;
  GPIO_InitStruct.Mode = GPIO_MODE_OUTPUT_PP;
  GPIO_InitStruct.Pull = GPIO_PULLUP;
  GPIO_InitStruct.Speed = GPIO_SPEED_FREQ_LOW;
  HAL_GPIO_Init(LED_GPIO_Port, &GPIO_InitStruct);

  /*Configure GPIO pins : SWITCH_3_Pin SWITCH_2_Pin SWITCH_1_Pin SWITCH_4_Pin */
  GPIO_InitStruct.Pin = SWITCH_3_Pin|SWITCH_2_Pin|SWITCH_1_Pin|SWITCH_4_Pin;
  GPIO_InitStruct.Mode = GPIO_MODE_INPUT;
  GPIO_InitStruct.Pull = GPIO_PULLUP;
  HAL_GPIO_Init(GPIOA, &GPIO_InitStruct);

  /*Configure GPIO pins : RED_LED_Pin GREEN_LED_Pin BLUE_LED_Pin SPI2_CS_Pin */
  GPIO_InitStruct.Pin = RED_LED_Pin|GREEN_LED_Pin|BLUE_LED_Pin|SPI2_CS_Pin;
  GPIO_InitStruct.Mode = GPIO_MODE_OUTPUT_PP;
  GPIO_InitStruct.Pull = GPIO_NOPULL;
  GPIO_InitStruct.Speed = GPIO_SPEED_FREQ_LOW;
  HAL_GPIO_Init(GPIOB, &GPIO_InitStruct);

  /*Configure GPIO pin : BUZZER_Pin */
  GPIO_InitStruct.Pin = BUZZER_Pin;
  GPIO_InitStruct.Mode = GPIO_MODE_OUTPUT_PP;
  GPIO_InitStruct.Pull = GPIO_PULLUP;
  GPIO_InitStruct.Speed = GPIO_SPEED_FREQ_LOW;
  HAL_GPIO_Init(BUZZER_GPIO_Port, &GPIO_InitStruct);

  /*Configure GPIO pin : SPI2_RESET_Pin */
  GPIO_InitStruct.Pin = SPI2_RESET_Pin;
  GPIO_InitStruct.Mode = GPIO_MODE_OUTPUT_PP;
  GPIO_InitStruct.Pull = GPIO_NOPULL;
  GPIO_InitStruct.Speed = GPIO_SPEED_FREQ_LOW;
  HAL_GPIO_Init(SPI2_RESET_GPIO_Port, &GPIO_InitStruct);

  /*Configure GPIO pin : DOOR_Pin */
  GPIO_InitStruct.Pin = DOOR_Pin;
  GPIO_InitStruct.Mode = GPIO_MODE_OUTPUT_PP;
  GPIO_InitStruct.Pull = GPIO_PULLDOWN;
  GPIO_InitStruct.Speed = GPIO_SPEED_FREQ_LOW;
  HAL_GPIO_Init(DOOR_GPIO_Port, &GPIO_InitStruct);

}

void Error_Handler(void)
{
	__disable_irq();
	while (1)
	{
	}
}
